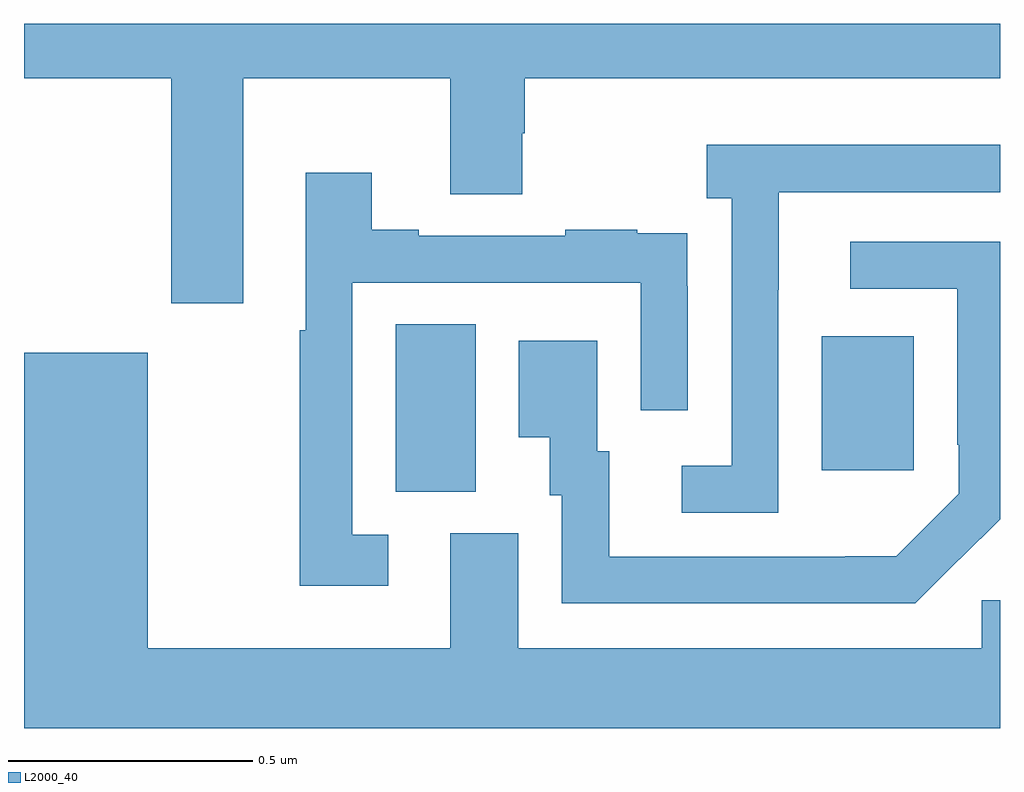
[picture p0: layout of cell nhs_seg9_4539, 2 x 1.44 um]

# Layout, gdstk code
import gdstk
lib = gdstk.Library(unit=1e-6, precision=1e-09)
def R(c, l, rs):  # rectangles x0, y0, x1, y1
    for r in rs: c.add(gdstk.rectangle(r[:2], r[2:], *l))
def P(c, l, *ps):  # polygons
    for p in ps: c.add(gdstk.Polygon(p, *l))
L2000_40 = (2000, 40)

nhs_seg9_4539 = lib.new_cell('nhs_seg9_4539')
R(nhs_seg9_4539, L2000_40, [(167.762,1227.541,167.926,1227.884), (168.635,1227.585,168.823,1227.859)])
P(nhs_seg9_4539, L2000_40, [(167.449,1228.388),(167.873,1228.388),(167.873,1228.15),(168.021,1228.15),(168.021,1228.275),(168.026,1228.275),(168.026,1228.388),(169,1228.388),(169,1228.5),(167,1228.5),(167,1228.388),(167.302,1228.388),(167.302,1227.927),(167.449,1227.927)],
  [(168.546,1227.955),(168.547,1227.955),(168.547,1228.155),(169,1228.155),(169,1228.252),(168.399,1228.252),(168.399,1228.142),(168.45,1228.142),(168.45,1227.594),(168.348,1227.594),(168.348,1227.498),(168.546,1227.498)],
  [(167.746,1227.453),(167.673,1227.453),(167.673,1227.969),(168.264,1227.969),(168.264,1227.708),(168.36,1227.708),(168.36,1227.962),(168.359,1227.962),(168.359,1228.071),(168.257,1228.071),(168.257,1228.078),(168.109,1228.078),(168.109,1228.065),(167.809,1228.065),(167.809,1228.078),(167.713,1228.078),(167.713,1228.195),(167.577,1228.195),(167.577,1227.872),(167.565,1227.872),(167.565,1227.348),(167.746,1227.348)],
  [(168.917,1227.403),(168.918,1227.402),(169,1227.484),(169,1228.053),(168.693,1228.053),(168.693,1227.957),(168.912,1227.957),(168.912,1227.637),(168.915,1227.637),(168.915,1227.537),(168.787,1227.409),(168.683,1227.409),(168.683,1227.408),(168.199,1227.408),(168.199,1227.624),(168.175,1227.624),(168.175,1227.85),(168.014,1227.85),(168.014,1227.653),(168.077,1227.653),(168.077,1227.534),(168.102,1227.534),(168.102,1227.312),(168.826,1227.312)],
  [(169,1227.318),(168.963,1227.318),(168.963,1227.22),(168.013,1227.22),(168.013,1227.456),(167.873,1227.456),(167.873,1227.22),(167.254,1227.22),(167.254,1227.826),(167,1227.826),(167,1227.056),(169,1227.056)])

lib.write_gds('nhs_seg9_4539.gds')
